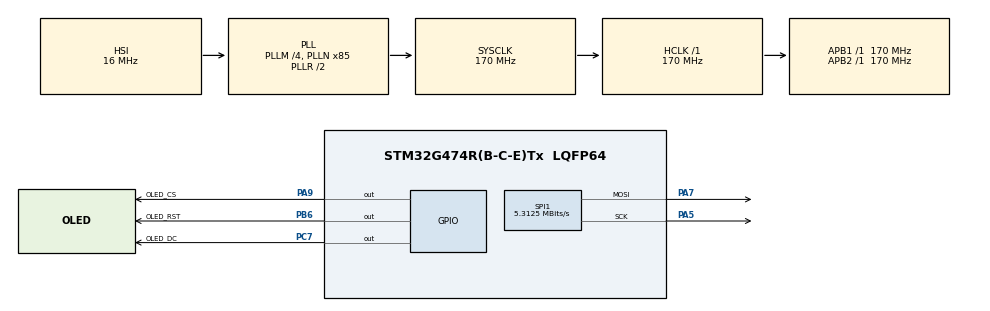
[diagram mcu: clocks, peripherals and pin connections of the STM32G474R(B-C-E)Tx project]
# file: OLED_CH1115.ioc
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Dma.Request0=SPI1_TX
Dma.SPI1_TX.0.Direction=DMA_MEMORY_TO_PERIPH
Dma.SPI1_TX.0.EventEnable=DISABLE
Dma.SPI1_TX.0.Instance=DMA1_Channel1
Dma.SPI1_TX.0.MemDataAlignment=DMA_MDATAALIGN_BYTE
Dma.SPI1_TX.0.MemInc=DMA_MINC_ENABLE
Dma.SPI1_TX.0.Mode=DMA_NORMAL
Dma.SPI1_TX.0.PeriphDataAlignment=DMA_PDATAALIGN_BYTE
Dma.SPI1_TX.0.PeriphInc=DMA_PINC_DISABLE
Dma.SPI1_TX.0.Polarity=HAL_DMAMUX_REQ_GEN_RISING
Dma.SPI1_TX.0.Priority=DMA_PRIORITY_LOW
Dma.SPI1_TX.0.RequestNumber=1
Dma.SPI1_TX.0.SignalID=NONE
Dma.SPI1_TX.0.SyncEnable=DISABLE
Dma.SPI1_TX.0.SyncPolarity=HAL_DMAMUX_SYNC_NO_EVENT
Dma.SPI1_TX.0.SyncRequestNumber=1
Dma.SPI1_TX.0.SyncSignalID=NONE
Mcu.Family=STM32G4
Mcu.Name=STM32G474R(B-C-E)Tx
Mcu.Package=LQFP64
NUCLEO-G474RE.BUTTON=1
NUCLEO-G474RE.VCP=true
NVIC.DMA1_Channel1_IRQn=true\:0\:0\:false\:false\:true\:false\:true\:true
NVIC.EXTI15_10_IRQn=true\:0\:0\:false\:false\:true\:false\:true\:true
NVIC.PriorityGroup=NVIC_PRIORITYGROUP_4
PA13.GPIO_Label=T_SWDIO
PA13.Signal=SYS_JTMS-SWDIO
PA14.GPIO_Label=T_SWCLK
PA14.Signal=SYS_JTCK-SWCLK
PA2.Signal=LPUART1_TX
PA3.Signal=LPUART1_RX
PA5.Mode=TX_Only_Simplex_Unidirect_Master
PA5.Signal=SPI1_SCK
PA7.Mode=TX_Only_Simplex_Unidirect_Master
PA7.Signal=SPI1_MOSI
PA9.GPIO_Label=OLED_CS
PA9.Signal=GPIO_Output
PB3.GPIO_Label=T_SWO
PB3.Signal=SYS_JTDO-SWO
PB6.GPIO_Label=OLED_RST
PB6.Signal=GPIO_Output
PC14-OSC32_IN.GPIO_Label=RCC_OSC32_IN
PC14-OSC32_IN.Signal=RCC_OSC32_IN
PC15-OSC32_OUT.GPIO_Label=RCC_OSC32_OUT
PC15-OSC32_OUT.Signal=RCC_OSC32_OUT
PC7.GPIO_Label=OLED_DC
PC7.Signal=GPIO_Output
PF0-OSC_IN.GPIO_Label=RCC_OSC_IN
PF0-OSC_IN.Signal=RCC_OSC_IN
PF1-OSC_OUT.GPIO_Label=RCC_OSC_OUT
PF1-OSC_OUT.Signal=RCC_OSC_OUT
ProjectManager.HeapSize=0x200
ProjectManager.StackSize=0x1000
ProjectManager.TargetToolchain=STM32CubeIDE
RCC.ADC12Freq_Value=170000000
RCC.ADC345Freq_Value=170000000
RCC.AHBFreq_Value=170000000
RCC.APB1Freq_Value=170000000
RCC.APB1TimFreq_Value=170000000
RCC.APB2Freq_Value=170000000
RCC.APB2TimFreq_Value=170000000
RCC.CortexFreq_Value=170000000
RCC.EXTERNAL_CLOCK_VALUE=12288000
RCC.HCLKFreq_Value=170000000
RCC.HSE_VALUE=24000000
RCC.HSI48_VALUE=48000000
RCC.HSI_VALUE=16000000
RCC.LSE_VALUE=32768
RCC.PLLM=RCC_PLLM_DIV4
RCC.PLLN=85
RCC.RTCClockSelection=RCC_RTCCLKSOURCE_LSE
RCC.SYSCLKFreq_VALUE=170000000
RCC.SYSCLKSource=RCC_SYSCLKSOURCE_PLLCLK
RCC.USBFreq_Value=170000000
RCC.VCOOutputFreq_Value=340000000
SPI1.BaudRatePrescaler=SPI_BAUDRATEPRESCALER_32
SPI1.CLKPhase=SPI_PHASE_2EDGE
SPI1.CLKPolarity=SPI_POLARITY_HIGH
SPI1.CalculateBaudRate=5.3125 MBits/s
SPI1.DataSize=SPI_DATASIZE_8BIT
SPI1.Direction=SPI_DIRECTION_2LINES
SPI1.Mode=SPI_MODE_MASTER
SPI1.VirtualType=VM_MASTER
VP_NUCLEO-G474RE_VS_BSP_COMMON.Mode=COMMON
VP_SYS_VS_DBSignals.Mode=DisableDeadBatterySignals
board=NUCLEO-G474RE

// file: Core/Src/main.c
/* USER CODE BEGIN Header */
/**
  ******************************************************************************
  * @file           : main.c
  * @brief          : Main program body
  ******************************************************************************
  * @attention
  *
  * Copyright (c) 2025 STMicroelectronics.
  * All rights reserved.
  *
  * This software is licensed under terms that can be found in the LICENSE file
  * in the root directory of this software component.
  * If no LICENSE file comes with this software, it is provided AS-IS.
  *
  ******************************************************************************
  */
/* USER CODE END Header */
#include "main.h"

/* USER CODE BEGIN Includes */
#include <string.h>
#include <stdbool.h>
#include "oled.h"
#include "u8g2.h"

/* USER CODE END Includes */

COM_InitTypeDef BspCOMInit;
SPI_HandleTypeDef hspi1;
DMA_HandleTypeDef hdma_spi1_tx;

/* USER CODE BEGIN PV */
uint8_t Image[8 * 128] = { 0, };  // буфер для вывода на дисплей
static u8g2_t myDisplay;
/* USER CODE END PV */

void SystemClock_Config(void);
static void MX_GPIO_Init(void);
static void MX_DMA_Init(void);
static void MX_SPI1_Init(void);
/* USER CODE BEGIN PFP */
void init(void);
void loop(void);

/* USER CODE END PFP */

/* USER CODE BEGIN 0 */
extern uint8_t u8x8_stm32_gpio_and_delay(u8x8_t *u8x8, uint8_t msg, uint8_t arg_int, void *arg_ptr);
extern uint8_t u8x8_byte_stm32_hw_spi(u8x8_t *u8x8, uint8_t msg, uint8_t arg_int, void *arg_ptr);

void init(void)
{
//	OLED_Init();
//	memset(Image, 0, 8 * 128);
//
//	uint8_t x = 10;
//	uint8_t y = 10;
//	uint8_t page;
//	uint8_t column;
//	uint8_t temp = 0;
//
//	// поворот на 180 градусов
//	y = 63 - y;
//	x = 127 - x;
//
//	page = y / 8;
//	column = x;
//	temp = 1 << y % 8;
//	Image[page * 128 + column] |= temp;
//	OLED_RefreshScreen();

	u8g2_Setup_ssd1306_128x64_noname_f(&myDisplay, U8G2_R0, u8x8_byte_stm32_hw_spi, u8x8_stm32_gpio_and_delay);  // Инициализация u8g2-структуры
	u8g2_InitDisplay(&myDisplay); // Отправка последовательности инициализации на дисплей, после чего дисплей переходит в спящий режим
	u8g2_SetPowerSave(&myDisplay, 0); // Пробуждение дисплея

	return;
}

void loop(void)
{
	__NOP();

	return;
}

// ------------------------------------------------------------------------------
void SendDataByte(uint8_t value)
{
	const uint8_t pData[1] = { value };
	uint16_t Size = 1;

	HAL_GPIO_WritePin(OLED_DC_GPIO_Port, OLED_DC_Pin, GPIO_PIN_SET);
	HAL_SPI_Transmit_DMA(&hspi1, pData, Size);

	return;
}

void SendCommandByte(uint8_t value)
{
	const uint8_t pData[1] = { value };
	uint16_t Size = 1;

	HAL_GPIO_WritePin(OLED_DC_GPIO_Port, OLED_DC_Pin, GPIO_PIN_RESET);
	HAL_SPI_Transmit_DMA(&hspi1, pData, Size);

	return;
}
// ------------------------------------------------------------------------------

/* USER CODE END 0 */

int main(void)
{

  /* MCU Configuration--------------------------------------------------------*/

  /* Reset of all peripherals, Initializes the Flash interface and the Systick. */
  HAL_Init();

  /* Configure the system clock */
  SystemClock_Config();

  /* Initialize all configured peripherals */
  MX_GPIO_Init();
  MX_DMA_Init();
  MX_SPI1_Init();

  /* Initialize USER push-button, will be used to trigger an interrupt each time it's pressed.*/
  BSP_PB_Init(BUTTON_USER, BUTTON_MODE_EXTI);

  /* Initialize COM1 port (115200, 8 bits (7-bit data + 1 stop bit), no parity */
  BspCOMInit.BaudRate   = 115200;
  BspCOMInit.WordLength = COM_WORDLENGTH_8B;
  BspCOMInit.StopBits   = COM_STOPBITS_1;
  BspCOMInit.Parity     = COM_PARITY_NONE;
  BspCOMInit.HwFlowCtl  = COM_HWCONTROL_NONE;
  if (BSP_COM_Init(COM1, &BspCOMInit) != BSP_ERROR_NONE)
  {
    Error_Handler();
  }

  /* Infinite loop */
  /* USER CODE BEGIN WHILE */
  init();

  u8g2_ClearDisplay(&myDisplay);
  u8g2_SetFont(&myDisplay, u8g2_font_cu12_t_cyrillic);
  u8g2_DrawUTF8(&myDisplay, 0, 15, "Всем привет!");
  u8g2_DrawCircle(&myDisplay, 60, 30, 10, U8G2_DRAW_ALL);
  u8g2_SendBuffer(&myDisplay);
  while (true)
  {
    loop();
    /* USER CODE END WHILE */

  }
}

void SystemClock_Config(void)
{
  RCC_OscInitTypeDef RCC_OscInitStruct = {0};
  RCC_ClkInitTypeDef RCC_ClkInitStruct = {0};

  /** Configure the main internal regulator output voltage
  */
  HAL_PWREx_ControlVoltageScaling(PWR_REGULATOR_VOLTAGE_SCALE1_BOOST);

  /** Initializes the RCC Oscillators according to the specified parameters
  * in the RCC_OscInitTypeDef structure.
  */
  RCC_OscInitStruct.OscillatorType = RCC_OSCILLATORTYPE_HSI;
  RCC_OscInitStruct.HSIState = RCC_HSI_ON;
  RCC_OscInitStruct.HSICalibrationValue = RCC_HSICALIBRATION_DEFAULT;
  RCC_OscInitStruct.PLL.PLLState = RCC_PLL_ON;
  RCC_OscInitStruct.PLL.PLLSource = RCC_PLLSOURCE_HSI;
  RCC_OscInitStruct.PLL.PLLM = RCC_PLLM_DIV4;
  RCC_OscInitStruct.PLL.PLLN = 85;
  RCC_OscInitStruct.PLL.PLLP = RCC_PLLP_DIV2;
  RCC_OscInitStruct.PLL.PLLQ = RCC_PLLQ_DIV2;
  RCC_OscInitStruct.PLL.PLLR = RCC_PLLR_DIV2;
  if (HAL_RCC_OscConfig(&RCC_OscInitStruct) != HAL_OK)
  {
    Error_Handler();
  }

  /** Initializes the CPU, AHB and APB buses clocks
  */
  RCC_ClkInitStruct.ClockType = RCC_CLOCKTYPE_HCLK|RCC_CLOCKTYPE_SYSCLK
                              |RCC_CLOCKTYPE_PCLK1|RCC_CLOCKTYPE_PCLK2;
  RCC_ClkInitStruct.SYSCLKSource = RCC_SYSCLKSOURCE_PLLCLK;
  RCC_ClkInitStruct.AHBCLKDivider = RCC_SYSCLK_DIV1;
  RCC_ClkInitStruct.APB1CLKDivider = RCC_HCLK_DIV1;
  RCC_ClkInitStruct.APB2CLKDivider = RCC_HCLK_DIV1;

  if (HAL_RCC_ClockConfig(&RCC_ClkInitStruct, FLASH_LATENCY_4) != HAL_OK)
  {
    Error_Handler();
  }
}

static void MX_SPI1_Init(void)
{

  /* SPI1 parameter configuration*/
  hspi1.Instance = SPI1;
  hspi1.Init.Mode = SPI_MODE_MASTER;
  hspi1.Init.Direction = SPI_DIRECTION_2LINES;
  hspi1.Init.DataSize = SPI_DATASIZE_8BIT;
  hspi1.Init.CLKPolarity = SPI_POLARITY_HIGH;
  hspi1.Init.CLKPhase = SPI_PHASE_2EDGE;
  hspi1.Init.NSS = SPI_NSS_SOFT;
  hspi1.Init.BaudRatePrescaler = SPI_BAUDRATEPRESCALER_32;
  hspi1.Init.FirstBit = SPI_FIRSTBIT_MSB;
  hspi1.Init.TIMode = SPI_TIMODE_DISABLE;
  hspi1.Init.CRCCalculation = SPI_CRCCALCULATION_DISABLE;
  hspi1.Init.CRCPolynomial = 7;
  hspi1.Init.CRCLength = SPI_CRC_LENGTH_DATASIZE;
  hspi1.Init.NSSPMode = SPI_NSS_PULSE_DISABLE;
  if (HAL_SPI_Init(&hspi1) != HAL_OK)
  {
    Error_Handler();
  }

}

static void MX_DMA_Init(void)
{

  /* DMA controller clock enable */
  __HAL_RCC_DMAMUX1_CLK_ENABLE();
  __HAL_RCC_DMA1_CLK_ENABLE();

  /* DMA interrupt init */
  /* DMA1_Channel1_IRQn interrupt configuration */
  HAL_NVIC_SetPriority(DMA1_Channel1_IRQn, 0, 0);
  HAL_NVIC_EnableIRQ(DMA1_Channel1_IRQn);

}

static void MX_GPIO_Init(void)
{
  GPIO_InitTypeDef GPIO_InitStruct = {0};

  /* GPIO Ports Clock Enable */
  __HAL_RCC_GPIOC_CLK_ENABLE();
  __HAL_RCC_GPIOF_CLK_ENABLE();
  __HAL_RCC_GPIOA_CLK_ENABLE();
  __HAL_RCC_GPIOB_CLK_ENABLE();

  /*Configure GPIO pin Output Level */
  HAL_GPIO_WritePin(OLED_DC_GPIO_Port, OLED_DC_Pin, GPIO_PIN_RESET);

  /*Configure GPIO pin Output Level */
  HAL_GPIO_WritePin(OLED_CS_GPIO_Port, OLED_CS_Pin, GPIO_PIN_RESET);

  /*Configure GPIO pin Output Level */
  HAL_GPIO_WritePin(OLED_RST_GPIO_Port, OLED_RST_Pin, GPIO_PIN_RESET);

  /*Configure GPIO pin : OLED_DC_Pin */
  GPIO_InitStruct.Pin = OLED_DC_Pin;
  GPIO_InitStruct.Mode = GPIO_MODE_OUTPUT_PP;
  GPIO_InitStruct.Pull = GPIO_NOPULL;
  GPIO_InitStruct.Speed = GPIO_SPEED_FREQ_LOW;
  HAL_GPIO_Init(OLED_DC_GPIO_Port, &GPIO_InitStruct);

  /*Configure GPIO pin : OLED_CS_Pin */
  GPIO_InitStruct.Pin = OLED_CS_Pin;
  GPIO_InitStruct.Mode = GPIO_MODE_OUTPUT_PP;
  GPIO_InitStruct.Pull = GPIO_NOPULL;
  GPIO_InitStruct.Speed = GPIO_SPEED_FREQ_LOW;
  HAL_GPIO_Init(OLED_CS_GPIO_Port, &GPIO_InitStruct);

  /*Configure GPIO pin : OLED_RST_Pin */
  GPIO_InitStruct.Pin = OLED_RST_Pin;
  GPIO_InitStruct.Mode = GPIO_MODE_OUTPUT_PP;
  GPIO_InitStruct.Pull = GPIO_NOPULL;
  GPIO_InitStruct.Speed = GPIO_SPEED_FREQ_LOW;
  HAL_GPIO_Init(OLED_RST_GPIO_Port, &GPIO_InitStruct);

}

void Error_Handler(void)
{
  __disable_irq();
  while (1)
  {
  }
}
